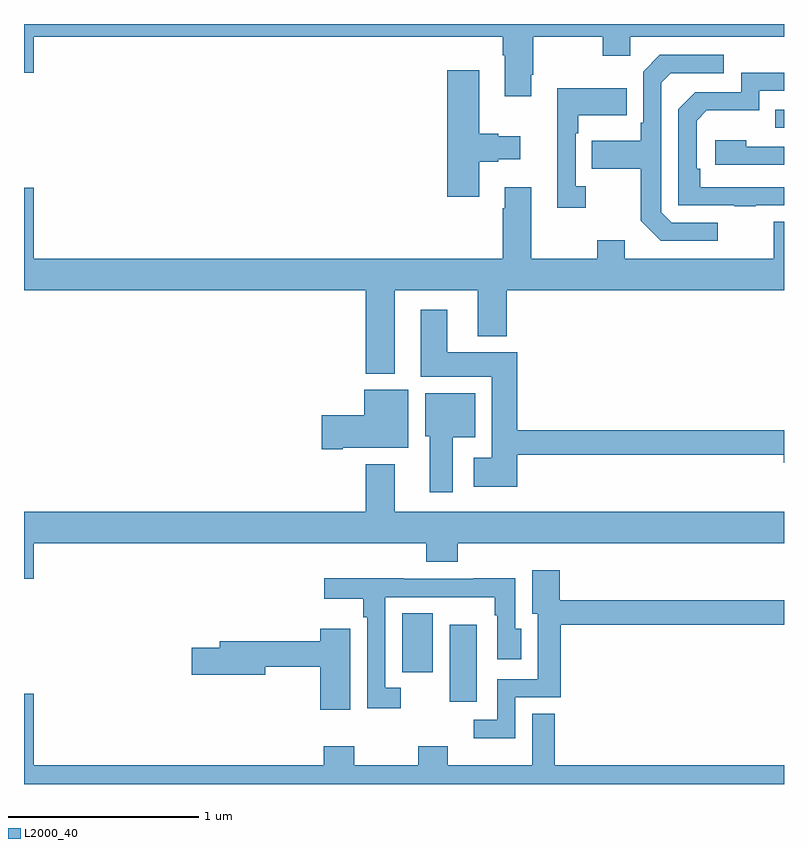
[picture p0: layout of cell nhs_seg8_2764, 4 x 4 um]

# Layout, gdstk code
import gdstk
lib = gdstk.Library(unit=1e-6, precision=1e-09)
def R(c, l, rs):  # rectangles x0, y0, x1, y1
    for r in rs: c.add(gdstk.rectangle(r[:2], r[2:], *l))
def P(c, l, *ps):  # polygons
    for p in ps: c.add(gdstk.Polygon(p, *l))
L2000_40 = (2000, 40)

nhs_seg8_2764 = lib.new_cell('nhs_seg8_2764')
R(nhs_seg8_2764, L2000_40, [(287.24,1114.332,287.383,1114.738), (286.991,1114.488,287.152,1114.799), (288.955,1117.353,289,1117.449)])
P(nhs_seg8_2764, L2000_40, [(287.671,1117.633),(287.679,1117.633),(287.679,1117.832),(288.046,1117.832),(288.046,1117.733),(288.192,1117.733),(288.192,1117.832),(289,1117.832),(289,1117.9),(285,1117.9),(285,1117.644),(285.052,1117.644),(285.052,1117.832),(287.519,1117.832),(287.519,1117.736),(287.531,1117.736),(287.531,1117.521),(287.671,1117.521)],
  [(288.652,1116.855),(288.408,1116.855),(288.354,1116.909),(288.354,1117.59),(288.405,1117.641),(288.682,1117.641),(288.682,1117.737),(288.345,1117.737),(288.258,1117.65),(288.258,1117.381),(288.246,1117.381),(288.246,1117.285),(287.989,1117.285),(287.989,1117.138),(288.246,1117.138),(288.246,1116.865),(288.351,1116.759),(288.652,1116.759)],
  [(287.395,1117.175),(287.495,1117.175),(287.495,1117.187),(287.611,1117.187),(287.611,1117.309),(287.495,1117.309),(287.495,1117.322),(287.395,1117.322),(287.395,1117.657),(287.228,1117.657),(287.228,1116.99),(287.395,1116.99)],
  [(288.851,1116.945),(289,1116.945),(289,1117.041),(288.56,1117.041),(288.56,1117.138),(288.54,1117.138),(288.54,1117.392),(288.593,1117.445),(288.87,1117.445),(288.87,1117.548),(289,1117.548),(289,1117.644),(288.774,1117.644),(288.774,1117.542),(288.534,1117.542),(288.444,1117.452),(288.444,1116.945),(288.739,1116.945),(288.739,1116.94),(288.851,1116.94)],
  [(287.956,1117.046),(287.904,1117.046),(287.904,1117.325),(287.917,1117.325),(287.917,1117.421),(288.173,1117.421),(288.173,1117.561),(287.807,1117.561),(287.807,1116.933),(287.956,1116.933)],
  [(289,1117.254),(288.8,1117.254),(288.8,1117.288),(288.639,1117.288),(288.639,1117.158),(289,1117.158)],
  [(286.951,1116.5),(287.387,1116.5),(287.387,1116.257),(287.54,1116.257),(287.54,1116.5),(289,1116.5),(289,1116.859),(288.947,1116.859),(288.947,1116.664),(288.163,1116.664),(288.163,1116.763),(288.016,1116.763),(288.016,1116.664),(287.671,1116.664),(287.671,1117.042),(287.531,1117.042),(287.531,1116.929),(287.519,1116.929),(287.519,1116.664),(285.052,1116.664),(285.052,1117.039),(285,1117.039),(285,1116.5),(286.799,1116.5),(286.799,1116.059),(286.951,1116.059)],
  [(287.597,1115.634),(288.998,1115.634),(288.998,1115.591),(289,1115.591),(289,1115.762),(287.597,1115.762),(287.597,1116.172),(287.227,1116.172),(287.227,1116.397),(287.087,1116.397),(287.087,1116.044),(287.462,1116.044),(287.462,1115.617),(287.367,1115.617),(287.367,1115.465),(287.597,1115.465)],
  [(286.678,1115.669),(287.023,1115.669),(287.023,1115.974),(286.79,1115.974),(286.79,1115.84),(286.566,1115.84),(286.566,1115.662),(286.678,1115.662)],
  [(287.257,1115.726),(287.374,1115.726),(287.374,1115.956),(287.111,1115.956),(287.111,1115.73),(287.135,1115.73),(287.135,1115.436),(287.257,1115.436)],
  [(285,1114.98),(285.052,1114.98),(285.052,1115.168),(287.117,1115.168),(287.117,1115.069),(287.282,1115.069),(287.282,1115.168),(289,1115.168),(289,1115.332),(286.951,1115.332),(286.951,1115.584),(286.799,1115.584),(286.799,1115.332),(285,1115.332)],
  [(287.586,1114.356),(287.824,1114.356),(287.824,1114.738),(289,1114.738),(289,1114.867),(287.819,1114.867),(287.819,1115.026),(287.675,1115.026),(287.675,1114.797),(287.705,1114.797),(287.705,1114.452),(287.49,1114.452),(287.49,1114.239),(287.367,1114.239),(287.367,1114.142),(287.586,1114.142)],
  [(286.984,1114.407),(286.902,1114.407),(286.902,1114.884),(287.248,1114.884),(287.248,1114.883),(287.478,1114.883),(287.478,1114.787),(287.49,1114.787),(287.49,1114.557),(287.617,1114.557),(287.617,1114.716),(287.586,1114.716),(287.586,1114.982),(287.365,1114.982),(287.365,1114.98),(286.999,1114.98),(286.999,1114.982),(286.581,1114.982),(286.581,1114.874),(286.786,1114.874),(286.786,1114.778),(286.806,1114.778),(286.806,1114.299),(286.984,1114.299)],
  [(286.717,1114.717),(286.559,1114.717),(286.559,1114.652),(286.031,1114.652),(286.031,1114.616),(285.882,1114.616),(285.882,1114.474),(286.27,1114.474),(286.27,1114.516),(286.559,1114.516),(286.559,1114.29),(286.717,1114.29)],
  [(287.074,1114.099),(287.074,1114),(286.737,1114),(286.737,1114.099),(286.577,1114.099),(286.577,1114),(285.052,1114),(285.052,1114.375),(285,1114.375),(285,1113.9),(289,1113.9),(289,1114),(287.794,1114),(287.794,1114.271),(287.675,1114.271),(287.675,1114),(287.229,1114),(287.229,1114.099)])

lib.write_gds('nhs_seg8_2764.gds')
